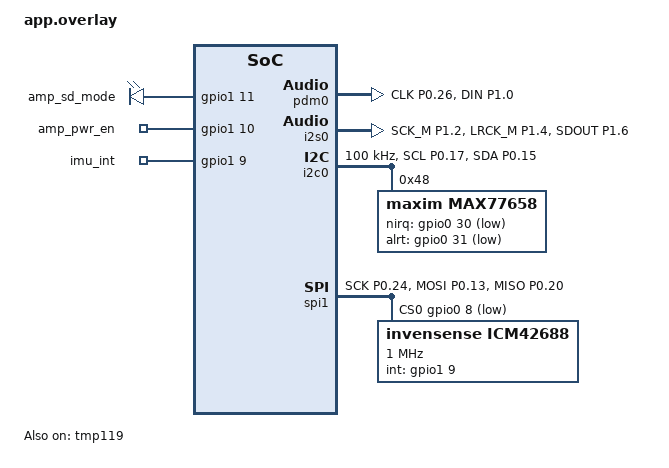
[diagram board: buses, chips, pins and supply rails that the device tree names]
#include <zephyr/dt-bindings/regulator/nrf5x.h>
#include <zephyr/dt-bindings/pinctrl/nrf-pinctrl.h>

&uicr {
    /delete-property/ gpio-as-nreset;
};

&reg1 {
    regulator-initial-mode = <NRF5X_REG_MODE_LDO>;
};

/ {
    aliases {
        amp-sd-mode = &amp_sd_mode;
        amp-pwr-en = &amp_pwr_en;
        imu-int = &imu_int;
    };

    chosen {
        zephyr,settings-partition = &storage_partition;
    };

    tmp119: tmp119@48 {
        compatible = "ti,tmp119-sw-i2c";
        reg = <0x48 1>;
        scl-gpios = <&gpio0 2 GPIO_ACTIVE_HIGH>;
        sda-gpios = <&gpio0 28 GPIO_ACTIVE_HIGH>;
        alert-gpios = <&gpio0 29 GPIO_ACTIVE_LOW>;
        status = "okay";
    };

    gpio_leds {
        compatible = "gpio-leds";

        amp_sd_mode: amp-sd-mode {
            gpios = <&gpio1 11 GPIO_ACTIVE_HIGH>;
        };

        amp_pwr_en: amp-pwr-en {
            gpios = <&gpio1 10 GPIO_ACTIVE_HIGH>;
        };
    };

    gpio_keys {
        compatible = "gpio-keys";

        imu_int: imu_int {
            gpios = <&gpio1 9 GPIO_ACTIVE_HIGH>;
            label = "imu_int";
        };
    };
};

&pinctrl {
    pdm0_default: pdm0_default {
        group1 {
            psels = <NRF_PSEL(PDM_CLK, 0, 26)>,
                    <NRF_PSEL(PDM_DIN, 1, 0)>;
            bias-disable;
        };
    };

    pdm0_sleep: pdm0_sleep {
        group1 {
            psels = <NRF_PSEL(PDM_CLK, 0, 26)>,
                    <NRF_PSEL(PDM_DIN, 1, 0)>;
            low-power-enable;
        };
    };

    i2s0_default: i2s0_default {
        group1 {
            psels = <NRF_PSEL(I2S_SCK_M, 1, 2)>,
                    <NRF_PSEL(I2S_LRCK_M, 1, 4)>,
                    <NRF_PSEL(I2S_SDOUT, 1, 6)>,
                    <NRF_PSEL_DISCONNECTED(I2S_SDIN)>,
                    <NRF_PSEL_DISCONNECTED(I2S_MCK)>;
        };
    };

    spi1_default: spi1_default {
        group1 {
            psels = <NRF_PSEL(SPIM_SCK, 0, 24)>,
                    <NRF_PSEL(SPIM_MOSI, 0, 13)>,
                    <NRF_PSEL(SPIM_MISO, 0, 20)>;
        };
    };

    spi1_sleep: spi1_sleep {
        group1 {
            psels = <NRF_PSEL(SPIM_SCK, 0, 24)>,
                    <NRF_PSEL(SPIM_MOSI, 0, 13)>,
                    <NRF_PSEL(SPIM_MISO, 0, 20)>;
            low-power-enable;
        };
    };

    i2c0_default: i2c0_default {
        group1 {
            psels = <NRF_PSEL(TWIM_SCL, 0, 17)>,
                    <NRF_PSEL(TWIM_SDA, 0, 15)>;
            bias-pull-up;
        };
    };

    i2c0_sleep: i2c0_sleep {
        group1 {
            psels = <NRF_PSEL(TWIM_SCL, 0, 17)>,
                    <NRF_PSEL(TWIM_SDA, 0, 15)>;
            low-power-enable;
            bias-pull-up;
        };
    };
};

&pdm0 {
    status = "okay";
    pinctrl-0 = <&pdm0_default>;
    pinctrl-1 = <&pdm0_sleep>;
    pinctrl-names = "default", "sleep";
    queue-size = <16>;
    clock-source = "PCLK32M_HFXO";
};

&i2s0 {
    status = "okay";
    clock-source = "PCLK32M";
    pinctrl-0 = <&i2s0_default>;
    pinctrl-names = "default";
};

&i2c0 {
    status = "okay";
    clock-frequency = <100000>;
    pinctrl-0 = <&i2c0_default>;
    pinctrl-1 = <&i2c0_sleep>;
    pinctrl-names = "default", "sleep";

    max77658: max77658@48 {
        compatible = "maxim,max77658";
        reg = <0x48>;
        nirq-gpios = <&gpio0 30 GPIO_ACTIVE_LOW>;
        alrt-gpios = <&gpio0 31 GPIO_ACTIVE_LOW>;
        status = "okay";
    };
};

&spi1 {
    status = "okay";
    pinctrl-0 = <&spi1_default>;
    pinctrl-1 = <&spi1_sleep>;
    pinctrl-names = "default", "sleep";
    cs-gpios = <&gpio0 8 GPIO_ACTIVE_LOW>;

    imu: icm42688@0 {
        compatible = "invensense,icm42688";
        reg = <0>;
        spi-max-frequency = <1000000>;
        spi-cpol;
        spi-cpha;
        int-gpios = <&gpio1 9 GPIO_ACTIVE_HIGH>;
        label = "ICM42688";
        status = "okay";
    };
};

&uart0 { status = "disabled"; };
&uart1 { status = "disabled"; };
&i2c1 { status = "disabled"; };
&pwm0 { status = "disabled"; };
&spi3 { status = "disabled"; };
&adc { status = "disabled"; };
&nfct { status = "disabled"; };
&usbd { status = "disabled"; };
&ieee802154 { status = "disabled"; };
&qspi { status = "disabled"; };
&mx25r64 { status = "disabled"; };

&led0 { status = "disabled"; };
&led1 { status = "disabled"; };
&led2 { status = "disabled"; };
&led3 { status = "disabled"; };
&button0 { status = "disabled"; };
&button1 { status = "disabled"; };
&button2 { status = "disabled"; };
&button3 { status = "disabled"; };

&gpio0 {
    /delete-property/ gpio-reserved-ranges;
};
